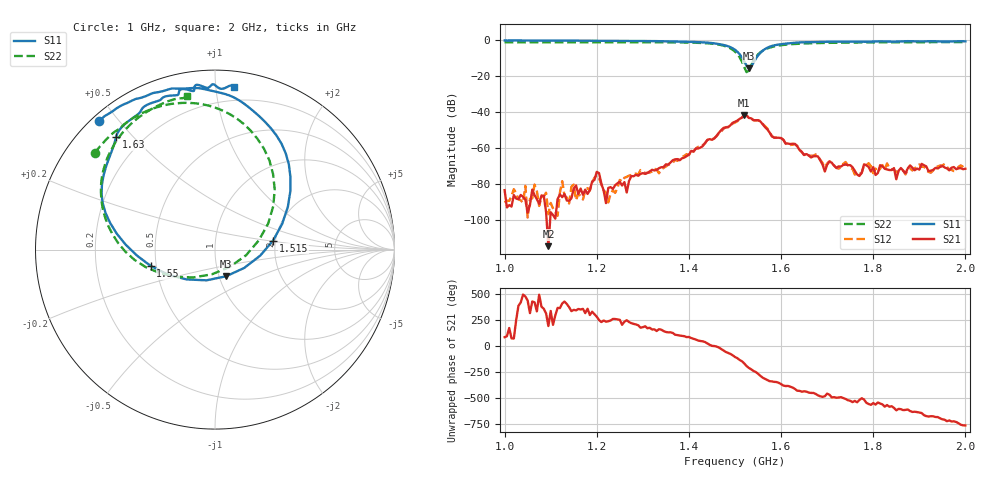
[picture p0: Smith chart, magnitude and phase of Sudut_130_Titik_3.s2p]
# Hz S RI R 50
! CMT, C1220, 16058040, 17.2.0/1
! Date: 14/08/2018 12:38:24
! Data: Format (Calibration Info)
! Freq  S11: Re/Im (F2)  S21: Re/Im (F2)  S12: Re/Im (F2)  S22: Re/Im (F2)
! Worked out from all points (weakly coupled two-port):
!   201 points, 1 GHz to 2 GHz, reference 50 ohm
!   highest |S21| = -41.91 dB at 1.52 GHz (marker M1); lowest = -114.8 dB at 1.095 GHz (marker M2)
!   lowest |S11| = -15.9 dB at 1.53 GHz (marker M3), VSWR 1.38, Z = 54 - j16.5 ohm
!   |S11| at or under -10 dB: 1.516 GHz to 1.546 GHz (30.71 MHz wide, 2.01 % of centre)
!   |S22| runs from -17.9 to -1.2 dB; largest |S21 - S12| = 0.00032
!   S11 on the Smith chart (normalised r, x): 1 GHz: 0.02, +0.44; 1.515 GHz: 1.94, +0.22; 1.55 GHz: 0.47, -0.10; 1.63 GHz: 0.11, +0.45; 2 GHz: 0.10, +1.12
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1e9  -0.6471 0.7144  8.74e-06 6.55e-05  2.79e-05 -1.09e-05  -0.6704 0.5389
1.095e9  -0.5568 0.7816  -1.8e-06 -3.03e-07  -1.05e-05 9.58e-06  -0.6149 0.604
1.17e9  -0.4754 0.8236  4.9e-05 -4.53e-06  2.71e-05 -2.42e-05  -0.5589 0.6567
1.2e9  -0.4338 0.8409  3.27e-05 -0.000211  3.27e-05 -0.000168  -0.5301 0.6707
1.21e9  -0.4245 0.8429  -6.74e-05 -7.37e-05  -7.71e-05 -5.5e-05  -0.5265 0.6743
1.265e9  -0.3382 0.8739  -2.42e-05 -5.15e-05  -8.64e-05 -0.000128  -0.4746 0.7214
1.335e9  -0.2139 0.8968  -0.000252 9.75e-05  -0.000157 0.000115  -0.3746 0.7745
1.45e9  0.1857 0.7949  0.00167 -2.85e-05  0.00169 -5.72e-05  0.0181 0.7846
1.5e9  0.4199 0.3263  -0.00164 -0.00505  -0.00154 -0.00478  0.3326 0.3357
1.515e9  0.3234 0.0501  -0.00589 -0.00358  -0.00587 -0.00377  0.2442 0.0514
1.52e9  0.2517 -0.0339  -0.00789 -0.0015  -0.00796 -0.00159  0.1734 -0.0312
1.53e9  0.0617 -0.1487  -0.00568 0.00363  -0.00574 0.0037  -0.016 -0.1373
1.55e9  -0.3581 -0.0911  -0.000125 0.00583  -0.000342 0.00585  -0.3836 -0.099
1.63e9  -0.552 0.6252  0.000744 -0.00104  0.000788 -0.000984  -0.6159 0.4635
1.67e9  -0.4353 0.7494  -3.02e-05 -0.000576  -4.8e-05 -0.000596  -0.5643 0.5815
1.695e9  -0.4038 0.7886  -0.000124 -0.000179  -0.000145 -0.000239  -0.5319 0.6297
1.705e9  -0.3804 0.8056  -0.000146 -0.000386  -0.000198 -0.000372  -0.5182 0.6472
1.76e9  -0.2643 0.856  -0.000224 -3.98e-05  -0.00018 -1.07e-05  -0.4477 0.718
1.835e9  -0.1285 0.884  -0.000168 0.000171  -0.0002 0.000176  -0.3567 0.7816
1.85e9  -0.1159 0.8911  -2.31e-05 0.000131  -0.000113 0.000184  -0.3391 0.7917
1.88e9  -0.0849 0.9154  -1.49e-05 0.000323  -1.49e-05 0.000265  -0.3018 0.8096
2e9  0.1033 0.9066  0.000182 -0.000186  0.000176 -0.000183  -0.1571 0.854
